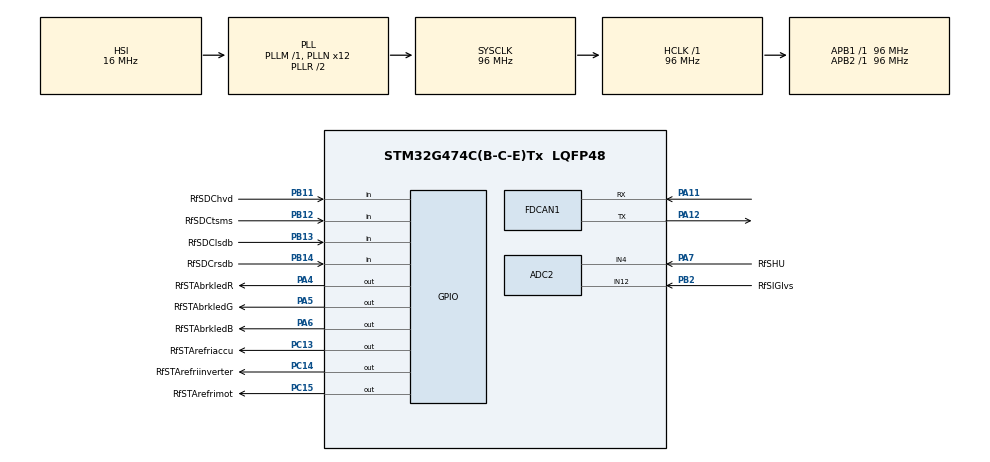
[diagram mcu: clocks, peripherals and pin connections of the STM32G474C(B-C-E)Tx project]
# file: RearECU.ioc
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ADC2.Channel-0\#ChannelRegularConversion=ADC_CHANNEL_4
ADC2.Channel-1\#ChannelRegularConversion=ADC_CHANNEL_4
ADC2.ContinuousConvMode=ENABLE
ADC2.NbrOfConversion=2
ADC2.NbrOfConversionFlag=1
ADC2.OffsetNumber-0\#ChannelRegularConversion=ADC_OFFSET_NONE
ADC2.OffsetNumber-1\#ChannelRegularConversion=ADC_OFFSET_NONE
ADC2.Rank-0\#ChannelRegularConversion=1
ADC2.Rank-1\#ChannelRegularConversion=2
ADC2.SamplingTime-0\#ChannelRegularConversion=ADC_SAMPLETIME_247CYCLES_5
ADC2.SamplingTime-1\#ChannelRegularConversion=ADC_SAMPLETIME_247CYCLES_5
Dma.ADC2.0.Direction=DMA_PERIPH_TO_MEMORY
Dma.ADC2.0.EventEnable=DISABLE
Dma.ADC2.0.Instance=DMA1_Channel1
Dma.ADC2.0.MemDataAlignment=DMA_MDATAALIGN_WORD
Dma.ADC2.0.MemInc=DMA_MINC_ENABLE
Dma.ADC2.0.Mode=DMA_CIRCULAR
Dma.ADC2.0.PeriphDataAlignment=DMA_PDATAALIGN_WORD
Dma.ADC2.0.PeriphInc=DMA_PINC_DISABLE
Dma.ADC2.0.Polarity=HAL_DMAMUX_REQ_GEN_RISING
Dma.ADC2.0.Priority=DMA_PRIORITY_LOW
Dma.ADC2.0.RequestNumber=1
Dma.ADC2.0.SignalID=NONE
Dma.ADC2.0.SyncEnable=DISABLE
Dma.ADC2.0.SyncPolarity=HAL_DMAMUX_SYNC_NO_EVENT
Dma.ADC2.0.SyncRequestNumber=1
Dma.ADC2.0.SyncSignalID=NONE
Dma.Request0=ADC2
FDCAN1.AutoRetransmission=ENABLE
FDCAN1.CalculateBaudRateNominal=250000
FDCAN1.CalculateTimeBitNominal=4000
FDCAN1.CalculateTimeQuantumNominal=250.0
FDCAN1.NominalPrescaler=12
FDCAN1.NominalTimeSeg1=13
FDCAN1.NominalTimeSeg2=2
FDCAN1.StdFiltersNbr=1
Mcu.Family=STM32G4
Mcu.Name=STM32G474C(B-C-E)Tx
Mcu.Package=LQFP48
NVIC.FDCAN1_IT0_IRQn=true\:0\:0\:false\:false\:true\:true\:true\:true
NVIC.FDCAN1_IT1_IRQn=true\:0\:0\:false\:false\:true\:true\:true\:true
NVIC.PriorityGroup=NVIC_PRIORITYGROUP_4
PA11.Mode=FDCAN_Activate
PA11.Signal=FDCAN1_RX
PA12.Mode=FDCAN_Activate
PA12.Signal=FDCAN1_TX
PA13.Mode=Trace_Asynchronous_SW
PA13.Signal=SYS_JTMS-SWDIO
PA14.Mode=Trace_Asynchronous_SW
PA14.Signal=SYS_JTCK-SWCLK
PA4.GPIO_Label=RfSTAbrkledR
PA4.Signal=GPIO_Output
PA5.GPIO_Label=RfSTAbrkledG
PA5.Signal=GPIO_Output
PA6.GPIO_Label=RfSTAbrkledB
PA6.Signal=GPIO_Output
PA7.GPIO_Label=RfSHU
PA7.Mode=IN4-Single-Ended
PA7.Signal=ADC2_IN4
PB11.GPIO_Label=RfSDChvd
PB11.Signal=GPIO_Input
PB12.GPIO_Label=RfSDCtsms
PB12.Signal=GPIO_Input
PB13.GPIO_Label=RfSDClsdb
PB13.Signal=GPIO_Input
PB14.GPIO_Label=RfSDCrsdb
PB14.Signal=GPIO_Input
PB2.GPIO_Label=RfSIGlvs
PB2.Mode=IN12-Single-Ended
PB2.Signal=ADC2_IN12
PB3.Mode=Trace_Asynchronous_SW
PB3.Signal=SYS_JTDO-SWO
PC13.GPIO_Label=RfSTArefriaccu
PC13.Signal=GPIO_Output
PC14-OSC32_IN.GPIO_Label=RfSTArefriinverter
PC14-OSC32_IN.Signal=GPIO_Output
PC15-OSC32_OUT.GPIO_Label=RfSTArefrimot
PC15-OSC32_OUT.Signal=GPIO_Output
PF0-OSC_IN.Mode=HSE-External-Oscillator
PF0-OSC_IN.Signal=RCC_OSC_IN
PF1-OSC_OUT.Mode=HSE-External-Oscillator
PF1-OSC_OUT.Signal=RCC_OSC_OUT
ProjectManager.HeapSize=0x200
ProjectManager.StackSize=0x400
ProjectManager.TargetToolchain=STM32CubeIDE
RCC.ADC12Freq_Value=96000000
RCC.ADC345Freq_Value=96000000
RCC.AHBFreq_Value=96000000
RCC.APB1Freq_Value=96000000
RCC.APB1TimFreq_Value=96000000
RCC.APB2Freq_Value=96000000
RCC.APB2TimFreq_Value=96000000
RCC.CortexFreq_Value=96000000
RCC.EXTERNAL_CLOCK_VALUE=12288000
RCC.FDCANCLockSelection=RCC_FDCANCLKSOURCE_PLL
RCC.HCLKFreq_Value=96000000
RCC.HSE_VALUE=8000000
RCC.HSI48_VALUE=48000000
RCC.HSI_VALUE=16000000
RCC.LSE_VALUE=32768
RCC.PLLN=12
RCC.PLLQ=RCC_PLLQ_DIV4
RCC.SYSCLKFreq_VALUE=96000000
RCC.SYSCLKSource=RCC_SYSCLKSOURCE_PLLCLK
RCC.USBFreq_Value=48000000
RCC.VCOOutputFreq_Value=192000000
VP_SYS_VS_DBSignals.Mode=DisableDeadBatterySignals
board=custom

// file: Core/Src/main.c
/* USER CODE BEGIN Header */
/**
  ******************************************************************************
  * @file           : main.c
  * @brief          : Main program body
  ******************************************************************************
  * @attention
  *
  * Copyright (c) 2026 STMicroelectronics.
  * All rights reserved.
  *
  * This software is licensed under terms that can be found in the LICENSE file
  * in the root directory of this software component.
  * If no LICENSE file comes with this software, it is provided AS-IS.
  *
  ******************************************************************************
  */
/* USER CODE END Header */
#include "main.h"

/* USER CODE BEGIN Includes */
#include "f2p.h"
#include "can.h"
#include "p2f.h"
/* USER CODE END Includes */

ADC_HandleTypeDef hadc2;
DMA_HandleTypeDef hdma_adc2;

FDCAN_HandleTypeDef hfdcan1;

/* USER CODE BEGIN PV */
#define DMA_CH2 2
uint32_t DICCDMA[DMA_CH2];
uint32_t LastCANSendTime = 0;
uint8_t  LastCANSendTime10 = 0;

volatile uint8_t Bamocar_Configured = 0;   // 0 = Pendent de configurar, 1 = Configurat i actiu
uint32_t LastConfigRetryTime = 0;

volatile DICCF_t DICCF = {0};
volatile DICCP_t DICCP = {0};
/* USER CODE END PV */

void SystemClock_Config(void);
static void MX_GPIO_Init(void);
static void MX_DMA_Init(void);
static void MX_FDCAN1_Init(void);
static void MX_ADC2_Init(void);

int main(void)
{

  /* MCU Configuration--------------------------------------------------------*/

  /* Reset of all peripherals, Initializes the Flash interface and the Systick. */
  HAL_Init();

  /* Configure the system clock */
  SystemClock_Config();

  /* Initialize all configured peripherals */
  MX_GPIO_Init();
  MX_DMA_Init();
  MX_FDCAN1_Init();
  MX_ADC2_Init();
  /* USER CODE BEGIN 2 */

  CAN_Init_Custom(&hfdcan1);

  HAL_ADCEx_Calibration_Start(&hadc2, ADC_SINGLE_ENDED);

  HAL_ADC_Start_DMA(&hadc2, (uint32_t *)DICCDMA, 2);
  /* USER CODE END 2 */

  /* Infinite loop */
  while (1)
  {

    /* USER CODE BEGIN 3 */

	  uint8_t Msg1[5] = {0};
	  uint8_t Msg2[8] = {0};
	  uint8_t Msg3[8] = {0};

	  DIG2DICCF(&DICCF);

	  DMA2DICCF(&DICCF, DICCDMA);

	  DICCF2DICCP(&DICCF, &DICCP);

	  CAN_Msg_Maker(&DICCP, Msg1, Msg2, Msg3);

	  if((HAL_GetTick() - LastCANSendTime) >= 100)
	  {
		  CAN_Send(&hfdcan1, 0x200, Msg1, 5);

		  CAN_Send(&hfdcan1, 0x201, Msg2, 8);

		  CAN_Send(&hfdcan1, 0x202, Msg3, 8);

		  LastCANSendTime = HAL_GetTick();
	  }

	  if (Bamocar_Configured == 0)
	        {
	            if ((HAL_GetTick() - LastConfigRetryTime) >= 1000)
	            {
	                Inverter_Request_Data(&hfdcan1, 0x30, 100); HAL_Delay(5);
	                Inverter_Request_Data(&hfdcan1, 0x48, 100); HAL_Delay(5);
	                Inverter_Request_Data(&hfdcan1, 0xA0, 100); HAL_Delay(5);
	                Inverter_Request_Data(&hfdcan1, 0xA8, 100); HAL_Delay(5);
	                Inverter_Request_Data(&hfdcan1, 0x4A, 100); HAL_Delay(5);
	                Inverter_Request_Data(&hfdcan1, 0x49, 100); HAL_Delay(5);
	                Inverter_Request_Data(&hfdcan1, 0x8F, 200); HAL_Delay(5);
	                Inverter_Request_Data(&hfdcan1, 0x30, 100); HAL_Delay(5);

	                LastConfigRetryTime = HAL_GetTick();
	            }
	        }

	  PLC(&DICCP);
  }
  /* USER CODE END 3 */
}

void SystemClock_Config(void)
{
  RCC_OscInitTypeDef RCC_OscInitStruct = {0};
  RCC_ClkInitTypeDef RCC_ClkInitStruct = {0};

  /** Configure the main internal regulator output voltage
  */
  HAL_PWREx_ControlVoltageScaling(PWR_REGULATOR_VOLTAGE_SCALE1);

  /** Initializes the RCC Oscillators according to the specified parameters
  * in the RCC_OscInitTypeDef structure.
  */
  RCC_OscInitStruct.OscillatorType = RCC_OSCILLATORTYPE_HSI;
  RCC_OscInitStruct.HSIState = RCC_HSI_ON;
  RCC_OscInitStruct.HSICalibrationValue = RCC_HSICALIBRATION_DEFAULT;
  RCC_OscInitStruct.PLL.PLLState = RCC_PLL_ON;
  RCC_OscInitStruct.PLL.PLLSource = RCC_PLLSOURCE_HSI;
  RCC_OscInitStruct.PLL.PLLM = RCC_PLLM_DIV1;
  RCC_OscInitStruct.PLL.PLLN = 12;
  RCC_OscInitStruct.PLL.PLLP = RCC_PLLP_DIV2;
  RCC_OscInitStruct.PLL.PLLQ = RCC_PLLQ_DIV4;
  RCC_OscInitStruct.PLL.PLLR = RCC_PLLR_DIV2;
  if (HAL_RCC_OscConfig(&RCC_OscInitStruct) != HAL_OK)
  {
    Error_Handler();
  }

  /** Initializes the CPU, AHB and APB buses clocks
  */
  RCC_ClkInitStruct.ClockType = RCC_CLOCKTYPE_HCLK|RCC_CLOCKTYPE_SYSCLK
                              |RCC_CLOCKTYPE_PCLK1|RCC_CLOCKTYPE_PCLK2;
  RCC_ClkInitStruct.SYSCLKSource = RCC_SYSCLKSOURCE_PLLCLK;
  RCC_ClkInitStruct.AHBCLKDivider = RCC_SYSCLK_DIV1;
  RCC_ClkInitStruct.APB1CLKDivider = RCC_HCLK_DIV1;
  RCC_ClkInitStruct.APB2CLKDivider = RCC_HCLK_DIV1;

  if (HAL_RCC_ClockConfig(&RCC_ClkInitStruct, FLASH_LATENCY_3) != HAL_OK)
  {
    Error_Handler();
  }
}

static void MX_ADC2_Init(void)
{

  ADC_ChannelConfTypeDef sConfig = {0};

  /** Common config
  */
  hadc2.Instance = ADC2;
  hadc2.Init.ClockPrescaler = ADC_CLOCK_SYNC_PCLK_DIV2;
  hadc2.Init.Resolution = ADC_RESOLUTION_12B;
  hadc2.Init.DataAlign = ADC_DATAALIGN_RIGHT;
  hadc2.Init.GainCompensation = 0;
  hadc2.Init.ScanConvMode = ADC_SCAN_ENABLE;
  hadc2.Init.EOCSelection = ADC_EOC_SINGLE_CONV;
  hadc2.Init.LowPowerAutoWait = DISABLE;
  hadc2.Init.ContinuousConvMode = ENABLE;
  hadc2.Init.NbrOfConversion = 2;
  hadc2.Init.DiscontinuousConvMode = DISABLE;
  hadc2.Init.ExternalTrigConv = ADC_SOFTWARE_START;
  hadc2.Init.ExternalTrigConvEdge = ADC_EXTERNALTRIGCONVEDGE_NONE;
  hadc2.Init.DMAContinuousRequests = DISABLE;
  hadc2.Init.Overrun = ADC_OVR_DATA_PRESERVED;
  hadc2.Init.OversamplingMode = DISABLE;
  if (HAL_ADC_Init(&hadc2) != HAL_OK)
  {
    Error_Handler();
  }

  /** Configure Regular Channel
  */
  sConfig.Channel = ADC_CHANNEL_4;
  sConfig.Rank = ADC_REGULAR_RANK_1;
  sConfig.SamplingTime = ADC_SAMPLETIME_247CYCLES_5;
  sConfig.SingleDiff = ADC_SINGLE_ENDED;
  sConfig.OffsetNumber = ADC_OFFSET_NONE;
  sConfig.Offset = 0;
  if (HAL_ADC_ConfigChannel(&hadc2, &sConfig) != HAL_OK)
  {
    Error_Handler();
  }

  /** Configure Regular Channel
  */
  sConfig.Rank = ADC_REGULAR_RANK_2;
  if (HAL_ADC_ConfigChannel(&hadc2, &sConfig) != HAL_OK)
  {
    Error_Handler();
  }

}

static void MX_FDCAN1_Init(void)
{

  hfdcan1.Instance = FDCAN1;
  hfdcan1.Init.ClockDivider = FDCAN_CLOCK_DIV1;
  hfdcan1.Init.FrameFormat = FDCAN_FRAME_CLASSIC;
  hfdcan1.Init.Mode = FDCAN_MODE_NORMAL;
  hfdcan1.Init.AutoRetransmission = ENABLE;
  hfdcan1.Init.TransmitPause = DISABLE;
  hfdcan1.Init.ProtocolException = DISABLE;
  hfdcan1.Init.NominalPrescaler = 12;
  hfdcan1.Init.NominalSyncJumpWidth = 1;
  hfdcan1.Init.NominalTimeSeg1 = 13;
  hfdcan1.Init.NominalTimeSeg2 = 2;
  hfdcan1.Init.DataPrescaler = 1;
  hfdcan1.Init.DataSyncJumpWidth = 1;
  hfdcan1.Init.DataTimeSeg1 = 1;
  hfdcan1.Init.DataTimeSeg2 = 1;
  hfdcan1.Init.StdFiltersNbr = 1;
  hfdcan1.Init.ExtFiltersNbr = 0;
  hfdcan1.Init.TxFifoQueueMode = FDCAN_TX_FIFO_OPERATION;
  if (HAL_FDCAN_Init(&hfdcan1) != HAL_OK)
  {
    Error_Handler();
  }

}

static void MX_DMA_Init(void)
{

  /* DMA controller clock enable */
  __HAL_RCC_DMAMUX1_CLK_ENABLE();
  __HAL_RCC_DMA1_CLK_ENABLE();

}

static void MX_GPIO_Init(void)
{
  GPIO_InitTypeDef GPIO_InitStruct = {0};

  /* GPIO Ports Clock Enable */
  __HAL_RCC_GPIOC_CLK_ENABLE();
  __HAL_RCC_GPIOF_CLK_ENABLE();
  __HAL_RCC_GPIOA_CLK_ENABLE();
  __HAL_RCC_GPIOB_CLK_ENABLE();

  /*Configure GPIO pin Output Level */
  HAL_GPIO_WritePin(GPIOC, RfSTArefriaccu_Pin|RfSTArefriinverter_Pin|RfSTArefrimot_Pin, GPIO_PIN_RESET);

  /*Configure GPIO pin Output Level */
  HAL_GPIO_WritePin(GPIOA, RfSTAbrkledR_Pin|RfSTAbrkledG_Pin|RfSTAbrkledB_Pin, GPIO_PIN_RESET);

  /*Configure GPIO pins : RfSTArefriaccu_Pin RfSTArefriinverter_Pin RfSTArefrimot_Pin */
  GPIO_InitStruct.Pin = RfSTArefriaccu_Pin|RfSTArefriinverter_Pin|RfSTArefrimot_Pin;
  GPIO_InitStruct.Mode = GPIO_MODE_OUTPUT_PP;
  GPIO_InitStruct.Pull = GPIO_NOPULL;
  GPIO_InitStruct.Speed = GPIO_SPEED_FREQ_LOW;
  HAL_GPIO_Init(GPIOC, &GPIO_InitStruct);

  /*Configure GPIO pins : RfSTAbrkledR_Pin RfSTAbrkledG_Pin RfSTAbrkledB_Pin */
  GPIO_InitStruct.Pin = RfSTAbrkledR_Pin|RfSTAbrkledG_Pin|RfSTAbrkledB_Pin;
  GPIO_InitStruct.Mode = GPIO_MODE_OUTPUT_PP;
  GPIO_InitStruct.Pull = GPIO_NOPULL;
  GPIO_InitStruct.Speed = GPIO_SPEED_FREQ_LOW;
  HAL_GPIO_Init(GPIOA, &GPIO_InitStruct);

  /*Configure GPIO pins : RfSDChvd_Pin RfSDCtsms_Pin RfSDClsdb_Pin RfSDCrsdb_Pin */
  GPIO_InitStruct.Pin = RfSDChvd_Pin|RfSDCtsms_Pin|RfSDClsdb_Pin|RfSDCrsdb_Pin;
  GPIO_InitStruct.Mode = GPIO_MODE_INPUT;
  GPIO_InitStruct.Pull = GPIO_NOPULL;
  HAL_GPIO_Init(GPIOB, &GPIO_InitStruct);

}

void Error_Handler(void)
{
  __disable_irq();
  while (1)
  {
  }
}
